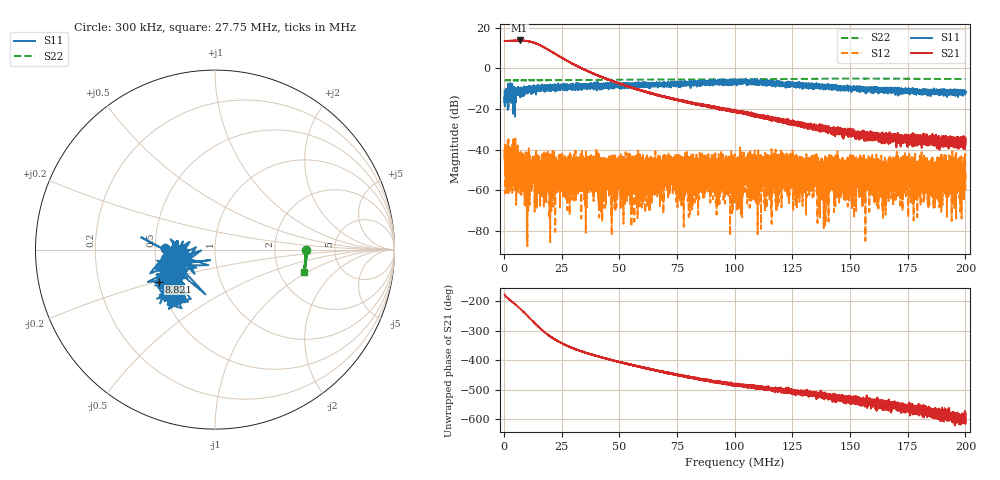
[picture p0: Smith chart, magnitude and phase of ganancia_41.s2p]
# Hz S DB R 50
! CMT, M5065, 19127446, 24.2.4/2
! Date: 11/8/2024 5:17:15 PM
! Data: Format (Calibration Info)
! Freq	S11:dB/Ang(F2)	S21:dB/Ang(F2)	S12:dB/Ang(F2)	S22:dB/Ang(F2)
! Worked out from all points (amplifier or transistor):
!   9000 points, 300 kHz to 200 MHz, reference 50 ohm
!   highest |S21| = 13.7 dB at 6.78 MHz (marker M1)
!   |S21| within 3 dB of that: start of sweep to 16.8 MHz
!   unconditionally stable (mu >= 1): start of sweep to end of sweep
!   at 33.59 MHz: K = 151.80, MAG = 2.2 dB, |S12| = -53.9 dB
!   at 100.2 MHz: K = 1229.34, MAG = -19.1 dB, |S12| = -51.2 dB
!   at 200 MHz: K = 23637.26, MAG = -35.5 dB, |S12| = -59.8 dB
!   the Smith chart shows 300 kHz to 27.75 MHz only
!   S11 on the Smith chart (normalised r, x): 300 kHz: 0.56, +0.01; 8.821 MHz: 0.50, -0.20; 27.75 MHz: 0.60, -0.37
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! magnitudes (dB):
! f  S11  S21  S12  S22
! 300 kHz  -11.1  13.4  -40.5  -5.9
! 2.741 MHz  -13.6  13.4  -41.1  -5.9
! 6.78 MHz  -10.1  13.7  -46.0  -5.9
! 8.821 MHz  -8.9  13.5  -49.2  -5.9
! 27.75 MHz  -9.6  3.4  -62.3  -5.8
! 33.59 MHz  -8.1  0.1  -53.9  -5.8
! 66.87 MHz  -8.8  -13.4  -56.3  -5.5
! 73.38 MHz  -8.1  -15.1  -56.1  -5.5
! 86.22 MHz  -7.1  -17.9  -52.8  -5.5
! 88.24 MHz  -6.8  -18.3  -50.8  -5.5
! 100.2 MHz  -6.7  -21.6  -51.2  -5.4
! 102.1 MHz  -7.3  -21.8  -53.3  -5.4
! 109.4 MHz  -6.6  -24.0  -48.0  -5.4
! 112.8 MHz  -7.9  -23.9  -43.3  -5.4
! 118.8 MHz  -6.9  -25.1  -54.3  -5.3
! 133.4 MHz  -8.6  -28.2  -43.5  -5.2
! 166.7 MHz  -11.1  -37.3  -44.1  -5.1
! 181.3 MHz  -11.3  -36.4  -52.9  -5.2
! 186.7 MHz  -10.9  -36.8  -61.0  -5.2
! 190.7 MHz  -12.4  -37.2  -57.5  -5.3
! 196.7 MHz  -10.9  -34.4  -54.6  -5.3
! 200 MHz  -12.6  -37.2  -59.8  -5.3
